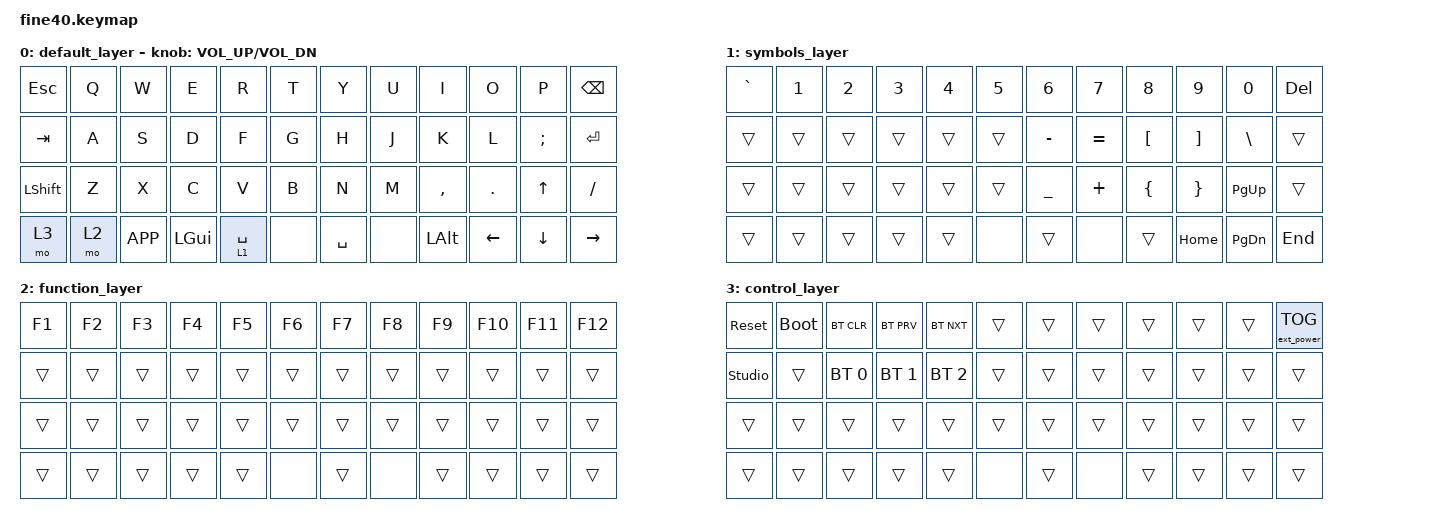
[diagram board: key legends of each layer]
/*
 * Mochi40 (Fine40) Keymap - Optimized for ZMK Studio & Left-Space Layer
 */

#include <behaviors.dtsi>
#include <dt-bindings/zmk/bt.h>
#include <dt-bindings/zmk/ext_power.h>
#include <dt-bindings/zmk/keys.h>

/ {
    keymap {
        compatible = "zmk,keymap";

        // Layer 0: Gõ văn bản bình thường
        default_layer {
            bindings = <
&kp ESC      &kp Q     &kp W      &kp E     &kp R      &kp T      &kp Y        &kp U     &kp I      &kp O     &kp P      &kp BSPC
&kp TAB      &kp A     &kp S      &kp D     &kp F      &kp G      &kp H        &kp J     &kp K      &kp L     &kp SEMI   &kp RET
&kp LSHFT    &kp Z     &kp X      &kp C     &kp V      &kp B      &kp N        &kp M     &kp COMMA  &kp DOT   &kp UP     &kp FSLH
&mo 3        &mo 2     &kp K_APP  &kp LGUI  &lt 1 SPACE &none     &kp SPACE    &none     &kp LALT   &kp LEFT  &kp DOWN   &kp RIGHT
            >;

            sensor-bindings = <&inc_dec_kp C_VOL_UP C_VOL_DN>;
        };

        // Layer 1: Số và Ký tự (Giữ phím Space trái để kích hoạt)
        symbols_layer {
            bindings = <
&kp GRAVE    &kp N1    &kp N2     &kp N3    &kp N4     &kp N5     &kp N6       &kp N7    &kp N8     &kp N9    &kp N0     &kp DEL
&trans       &trans    &trans     &trans    &trans     &trans     &kp MINUS    &kp EQUAL &kp LBKT   &kp RBKT  &kp BSLH   &trans
&trans       &trans    &trans     &trans    &trans     &trans     &kp UNDER    &kp PLUS  &kp LBRC   &kp RBRC  &kp PG_UP  &trans
&trans       &trans    &trans     &trans    &trans     &none      &trans       &none     &trans     &kp HOME  &kp PG_DN  &kp END
            >;
        };

        // Layer 2: Các phím chức năng F1-F12
        function_layer {
            bindings = <
&kp F1       &kp F2    &kp F3     &kp F4    &kp F5     &kp F6     &kp F7       &kp F8    &kp F9     &kp F10   &kp F11    &kp F12
&trans       &trans    &trans     &trans    &trans     &trans     &trans       &trans    &trans     &trans    &trans     &trans
&trans       &trans    &trans     &trans    &trans     &trans     &trans       &trans    &trans     &trans    &trans     &trans
&trans       &trans    &trans     &trans    &trans     &none      &trans       &none     &trans     &trans    &trans     &trans
            >;
        };

        // Layer 3: Hệ thống (Bluetooth, Reset và Unlock Studio)
        control_layer {
            bindings = <
&sys_reset      &bootloader  &bt BT_CLR   &bt BT_PRV   &bt BT_NXT   &trans    &trans  &trans  &trans  &trans  &trans  &ext_power EP_TOG
&studio_unlock  &trans       &bt BT_SEL 0 &bt BT_SEL 1 &bt BT_SEL 2 &trans    &trans  &trans  &trans  &trans  &trans  &trans
&trans          &trans       &trans       &trans       &trans       &trans    &trans  &trans  &trans  &trans  &trans  &trans
&trans          &trans       &trans       &trans       &trans       &none     &trans  &none   &trans  &trans  &trans  &trans
            >;
        };
    };
};
